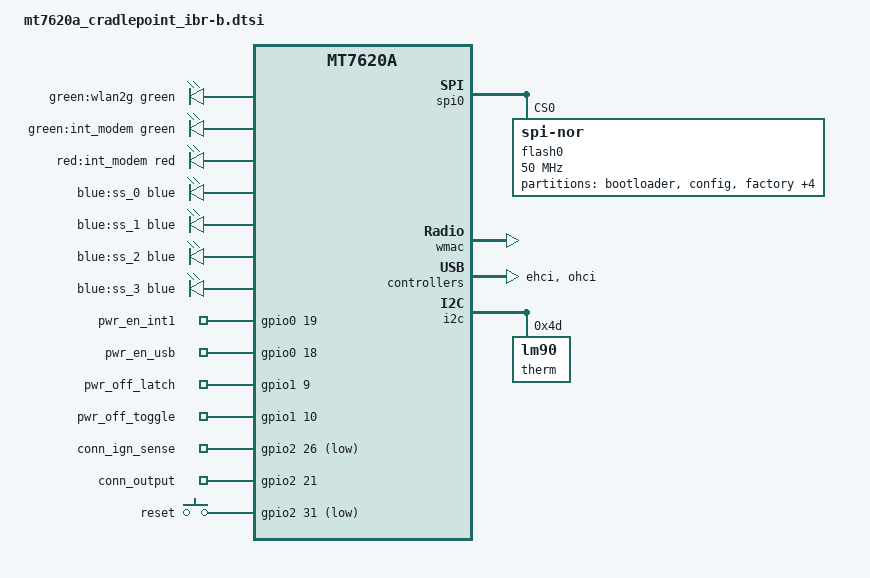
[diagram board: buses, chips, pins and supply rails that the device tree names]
#include "mt7620a.dtsi"

#include <dt-bindings/gpio/gpio.h>
#include <dt-bindings/input/input.h>
#include <dt-bindings/leds/common.h>

/ {
	leds {
		compatible = "gpio-leds";

		led_wlan2g: wlan2g {
			function = LED_FUNCTION_WLAN;
			color = <LED_COLOR_ID_GREEN>;
			label = "green:wlan2g";
			linux,default-trigger = "phy1radio";
		};

		led_mdm1: mdm1 {
			function = LED_FUNCTION_STATUS;
			color = <LED_COLOR_ID_GREEN>;
			label = "green:int_modem";
		};

		led_mdm1_red: mdm1_red {
			function = LED_FUNCTION_STATUS;
			color = <LED_COLOR_ID_RED>;
			label = "red:int_modem";
		};

		led_ss_0: ss_0 {
			function = LED_FUNCTION_STATUS;
			color = <LED_COLOR_ID_BLUE>;
			label = "blue:ss_0";
		};

		led_ss_1: ss_1 {
			function = LED_FUNCTION_STATUS;
			color = <LED_COLOR_ID_BLUE>;
			label = "blue:ss_1";
		};

		led_ss_2: ss_2 {
			function = LED_FUNCTION_STATUS;
			color = <LED_COLOR_ID_BLUE>;
			label = "blue:ss_2";
		};

		led_ss_3: ss_3 {
			function = LED_FUNCTION_STATUS;
			color = <LED_COLOR_ID_BLUE>;
			label = "blue:ss_3";
		};
	};

	gpio_export {
		compatible = "gpio-export";

		pwr_en_int1 {
			gpio-export,name = "pwr_en_int1";
			gpio-export,output = <1>;
			gpio-export,direction_may_change = <0>;
			gpios = <&gpio0 19 GPIO_ACTIVE_HIGH>;
		};

		pwr_en_usb {
			gpio-export,name = "pwr_en_usb";
			gpio-export,output = <1>;
			gpio-export,direction_may_change = <0>;
			gpios = <&gpio0 18 GPIO_ACTIVE_HIGH>;
		};

		pwr_off_latch {
			gpio-export,name = "pwr_off_latch";
			gpio-export,output = <0>;
			gpio-export,direction_may_change = <0>;
			gpios = <&gpio1 9 GPIO_ACTIVE_HIGH>;
		};

		pwr_off_toggle {
			gpio-export,name = "pwr_off_toggle";
			gpio-export,output = <0>;
			gpio-export,direction_may_change = <0>;
			gpios = <&gpio1 10 GPIO_ACTIVE_HIGH>;
		};

		conn_ign_sense {
			gpio-export,name = "conn_ign_sense";
			gpio-export,input = <0>;
			gpio-export,direction_may_change = <0>;
			gpios = <&gpio2 26 GPIO_ACTIVE_LOW>;
		};

		conn_output {
			gpio-export,name = "conn_output";
			gpio-export,output = <0>;
			gpio-export,direction_may_change = <0>;
			gpios = <&gpio2 21 GPIO_ACTIVE_HIGH>;
		};
	};

	keys {
		compatible = "gpio-keys";

		reset {
			label = "reset";
			gpios = <&gpio2 31 GPIO_ACTIVE_LOW>;
			// linux,code = <KEY_RESTART>;
		};
	};

	nand {
		compatible = "mtk,mt7620-nand";

		partitions {
			compatible = "fixed-partitions";
			#address-cells = <1>;
			#size-cells = <1>;

			partition@0 {
				label = "Upgrade";
				reg = <0x0 0x2000000>;
			};

			partition@2000000 {
				label = "Filesystem";
				reg = <0x2000000 0xe000000>;
			};
		};
	};
};

&gpio0 {
	status = "okay";
};

&gpio1 {
	status = "okay";
};

&gpio2 {
	status = "okay";
};

&gpio3 {
	status = "okay";
};

&spi0 {
	status = "okay";

	flash0: flash@0 {
		compatible = "jedec,spi-nor";
		reg = <0>;
		spi-max-frequency = <50000000>;
		m25p,fast-read;

		partitions {
			compatible = "fixed-partitions";
			#address-cells = <1>;
			#size-cells = <1>;

			partition@0 {
				label = "bootloader";
				reg = <0x0 0x30000>;
				read-only;
			};

			partition@30000 {
				label = "config";
				reg = <0x30000 0x10000>;
				read-only;
			};

			partition@40000 {
				label = "factory";
				reg = <0x40000 0x10000>;
				read-only;

				nvmem-layout {
					compatible = "fixed-layout";
					#address-cells = <1>;
					#size-cells = <1>;

					eeprom_factory_0: eeprom@0 {
						reg = <0x0 0x200>;
					};

					eeprom_factory_8000: eeprom@8000 {
						reg = <0x8000 0x200>;
					};

					macaddr_factory_28: macaddr@28 {
						reg = <0x28 0x6>;
					};
				};
			};

			partition@50000 {
				label = "kernel";
				reg = <0x50000 0x1c0000>;
			};

			partition@210000 {
				label = "rootfs";
				reg = <0x210000 0xb60000>;
			};

			partition@d70000 {
				label = "2nd Filemanager";
				reg = <0xd70000 0x20000>;
			};

			partition@d90000 {
				label = "Filemanager";
				reg = <0xd90000 0x20000>;
			};
		};
	};
};

&ethernet {
	nvmem-cells = <&macaddr_factory_28>;
	nvmem-cell-names = "mac-address";
	mediatek,portmap = "llwll";
};

&wmac {
	nvmem-cells = <&eeprom_factory_0>;
	nvmem-cell-names = "eeprom";
};

&ehci {
	status = "okay";
};

&ohci {
	status = "okay";
};

&i2c {
	status = "okay";

	therm: temperature-sensor@4d {
		compatible = "lm90";
		reg = <0x4d>;
		#thermal-sensor-cells = <1>;
		status = "okay";
	};
};
